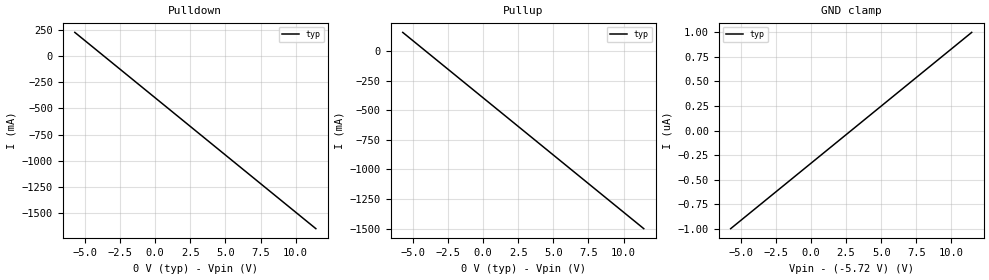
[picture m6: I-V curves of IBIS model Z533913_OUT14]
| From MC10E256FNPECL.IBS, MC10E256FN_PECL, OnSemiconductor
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| (C) COPYRIGHT 1993-2000
| MENTOR GRAPHICS CORPORATION
| ICX STANDARD LIBRARY, ICX PROJECT MODELING,
| ICX CUSTOM MODELING, ICX VENDOR MODEL
| ALL RIGHTS RESERVED.
| THE FOLLOWING ARE TRADEMARKS OR SERVICE MARKS OF
| MENTOR GRAPHICS CORPORATION:ICX (R), ICX STANDARD
| LIBRARY(R), ICX PROJECT MODELING(R), ICX CUSTOM
| MODELING(R), qualityIBIS(TM), MODELVIEWER(TM),
| AND MODELEDITOR(TM)
| ALL COPIES OF SOFTWARE, INCLUDING BUT NOT LIMITED TO
| ANY MODIFICATIONS, ENHANCEMENTS OR DERIVATIVE WORKS,
| MUST CONTAIN ALL MENTOR GRAPHICS CORPORATION'S
| NOTICES AND LEGENDS, INCLUDING THOSE EMBEDDED IN
| SOFTWARE AND THOSE AFFIXED TO SOFTWARE MEDIUM
| AND CONTAINER, AS RECEIVED FROM MENTOR GRAPHICS
| CORPORATION.
| Model Application Version 1.89 2/18/99.
[Model] Z533913_OUT14
Model_type Output_ECL
Vref=0.000V
Rref=500.0Mohms
Cref=50.00pF
Vmeas=3.620V
C_comp 8.000pF NA NA
| variable typ   min   max
[Voltage Range] -5.720V NA NA
[POWER Clamp Reference] 0.000V NA NA
[Pullup Reference] 0.000V NA NA
[Pulldown Reference] 0.000V NA NA
[GND Clamp Reference] -5.720V NA NA
[GND Clamp]
-5.72V    -1uA       NA         NA
11.44V    1uA        NA         NA
[Pulldown]
-5.72V    225.8mA    NA         NA
11.44V    -1.646A    NA         NA
[Pullup]
-5.72V    156.4mA    NA         NA
11.44V    -1.499A    NA         NA
[POWER Clamp]
-5.72V    0A         NA         NA
11.44V    0A         NA         NA
[Ramp]
| variable typ min max
dV/dt_r 255.6m/328.6p NA NA
dV/dt_f 255.6m/268.6p NA NA
R_load = 500.0Ohms
